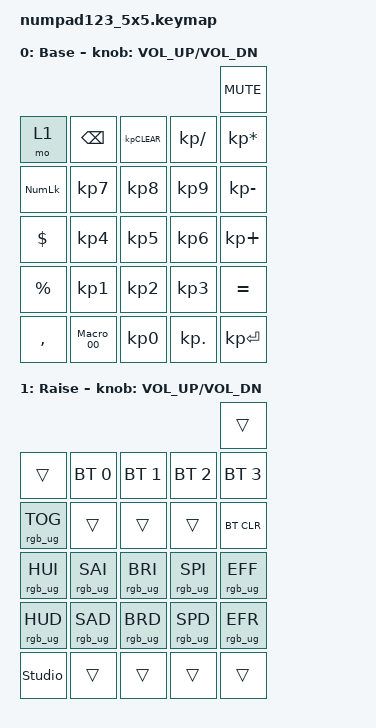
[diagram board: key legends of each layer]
#include <behaviors.dtsi>
#include <dt-bindings/zmk/bt.h>
#include <dt-bindings/zmk/keys.h>
#include <dt-bindings/zmk/rgb.h>

/ {
    macros {
        Macro_00: Macro_00 {
            compatible = "zmk,behavior-macro";
            #binding-cells = <0>;
            bindings = <&kp KP_NUMBER_0 &kp KP_NUMBER_0>;
            label = "MACRO_00";
        };
    };

    keymap {
        compatible = "zmk,keymap";

        Base {
            display-name = "Base";
            bindings = <
                                                                   &kp C_MUTE
&mo 1           &kp BACKSPACE    &kp KP_CLEAR     &kp KP_DIVIDE    &kp KP_MULTIPLY
&kp KP_NUMLOCK  &kp KP_NUMBER_7  &kp KP_NUMBER_8  &kp KP_NUMBER_9  &kp KP_MINUS
&kp DOLLAR      &kp KP_NUMBER_4  &kp KP_NUMBER_5  &kp KP_NUMBER_6  &kp KP_PLUS
&kp PERCENT     &kp KP_NUMBER_1  &kp KP_NUMBER_2  &kp KP_NUMBER_3  &kp EQUAL
&kp COMMA       &Macro_00        &kp KP_NUMBER_0  &kp KP_DOT       &kp KP_ENTER
            >;

            sensor-bindings = <&inc_dec_kp C_VOLUME_UP C_VOL_DN>;
        };

        Raise {
            bindings = <
                                                                    &trans
&trans           &bt BT_SEL 0     &bt BT_SEL 1     &bt BT_SEL 2     &bt BT_SEL 3
&rgb_ug RGB_TOG  &trans           &trans           &trans           &bt BT_CLR
&rgb_ug RGB_HUI  &rgb_ug RGB_SAI  &rgb_ug RGB_BRI  &rgb_ug RGB_SPI  &rgb_ug RGB_EFF
&rgb_ug RGB_HUD  &rgb_ug RGB_SAD  &rgb_ug RGB_BRD  &rgb_ug RGB_SPD  &rgb_ug RGB_EFR
&studio_unlock   &trans           &trans           &trans           &trans
            >;

            label = "Raise";
            sensor-bindings = <&inc_dec_kp C_VOLUME_UP C_VOL_DN>;
        };
    };
};
